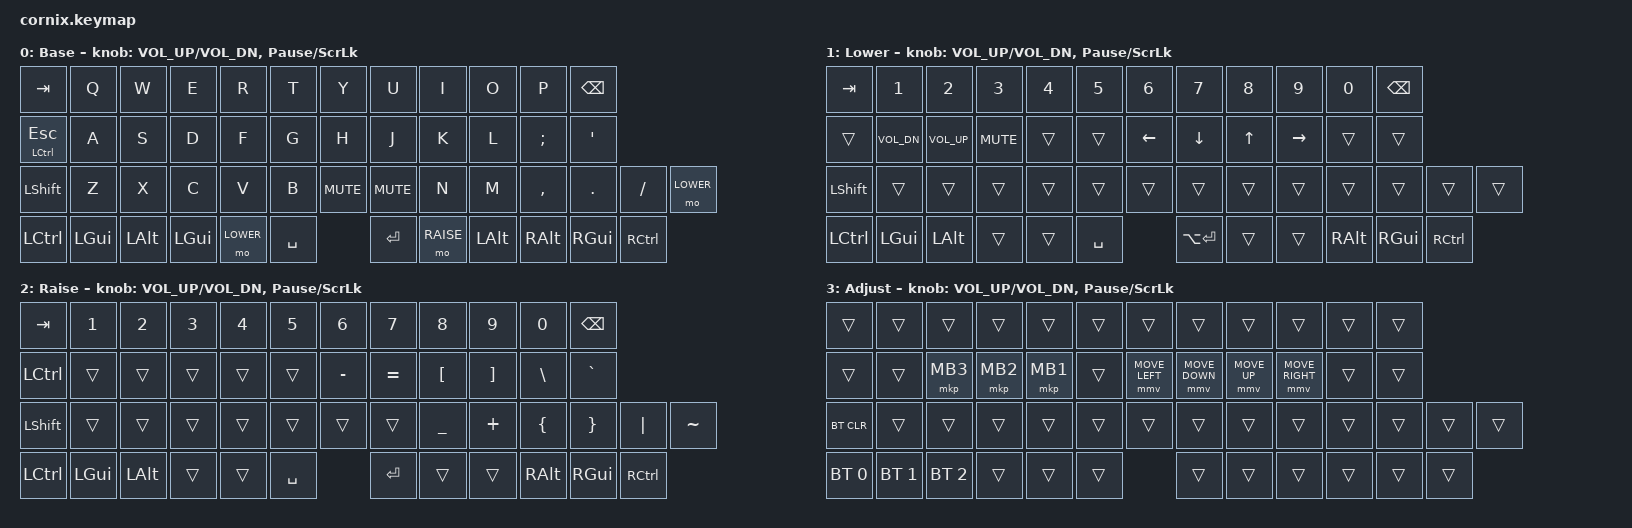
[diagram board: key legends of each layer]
/*
 * Copyright (c) 2020 The ZMK Contributors
 *
 * SPDX-License-Identifier: MIT
 */

#include <behaviors.dtsi>
#include <dt-bindings/zmk/bt.h>
#include <dt-bindings/zmk/keys.h>
#include <dt-bindings/zmk/pointing.h>

#define BASE 0
#define LOWER 1
#define RAISE 2
#define ADJUST 3

/ {
    behaviors {
        mt_esc: mod_tap_esc {
            compatible = "zmk,behavior-hold-tap";
            #binding-cells = <2>;
            flavor = "hold-preferred";
            tapping-term-ms = <150>;
            bindings = <&kp>, <&kp>;
        };
    };

    conditional_layers {
        compatible = "zmk,conditional-layers";

        adjust_layer {
            if-layers = <LOWER RAISE>;
            then-layer = <ADJUST>;
        };
    };

    keymap {
        compatible = "zmk,keymap";

        default_layer {
            display-name = "Base";

            bindings = <
&kp TAB              &kp Q               &kp W              &kp E              &kp R                  &kp T       &kp Y      &kp U                &kp I            &kp O         &kp P             &kp BSPC
&mt_esc LCTRL ESC    &kp A             &kp S             &kp D             &kp F               &kp G       &kp H      &kp J      &kp K       &kp L       &kp SEMI        &kp SQT
&kp LSHFT            &kp Z               &kp X              &kp C              &kp V                  &kp B       &kp C_MUTE &kp C_MUTE           &kp N            &kp M         &kp COMMA         &kp DOT        &kp FSLH       &mo LOWER
&kp LCTRL            &kp LGUI            &kp LALT           &kp LGUI           &mo LOWER              &kp SPACE                  &kp RET       &mo RAISE            &kp LALT         &kp RALT      &kp RGUI          &kp RCTRL
            >;
            sensor-bindings = <&inc_dec_kp C_VOL_UP C_VOL_DN &inc_dec_kp PAUSE_BREAK SCROLLLOCK >;
        };

        lower_layer {
            display-name = "Lower";

            bindings = <
&kp TAB    &kp N1        &kp N2        &kp N3        &kp N4      &kp N5       &kp N6       &kp N7       &kp N8       &kp N9       &kp N0        &kp BSPC
&trans     &kp C_VOL_DN  &kp C_VOL_UP  &kp C_MUTE    &trans      &trans       &kp LEFT     &kp DOWN     &kp UP       &kp RIGHT    &trans        &trans
&kp LSHFT  &trans        &trans        &trans        &trans      &trans       &trans       &trans       &trans       &trans       &trans        &trans        &trans         &trans
&kp LCTRL  &kp LGUI      &kp LALT      &trans        &trans      &kp SPACE                  &kp LA(RET)  &trans       &trans       &kp RALT      &kp RGUI      &kp RCTRL
            >;
            sensor-bindings = <&inc_dec_kp C_VOL_UP C_VOL_DN &inc_dec_kp PAUSE_BREAK SCROLLLOCK >;
        };

        raise_layer {
            display-name = "Raise";

            bindings = <
&kp TAB    &kp N1     &kp N2     &kp N3     &kp N4      &kp N5      &kp N6      &kp N7      &kp N8      &kp N9      &kp N0      &kp BSPC
&kp LCTRL  &trans     &trans     &trans     &trans      &trans      &kp MINUS   &kp EQUAL   &kp LBKT    &kp RBKT    &kp BSLH    &kp GRAVE
&kp LSHFT  &trans     &trans     &trans     &trans      &trans      &trans      &trans      &kp UNDER   &kp PLUS    &kp LBRC    &kp RBRC    &kp PIPE    &kp TILDE
&kp LCTRL  &kp LGUI   &kp LALT   &trans     &trans      &kp SPACE                &kp RET     &trans      &trans      &kp RALT    &kp RGUI    &kp RCTRL
            >;
            sensor-bindings = <&inc_dec_kp C_VOL_UP C_VOL_DN &inc_dec_kp PAUSE_BREAK SCROLLLOCK>;
        };

        adjust_layer {
            display-name = "Adjust";

            bindings = <
&trans      &trans         &trans         &trans         &trans         &trans      &trans          &trans          &trans          &trans           &trans        &trans
&trans      &trans         &mkp MB3       &mkp MB2       &mkp MB1       &trans      &mmv MOVE_LEFT  &mmv MOVE_DOWN  &mmv MOVE_UP    &mmv MOVE_RIGHT  &trans        &trans
&bt BT_CLR  &trans         &trans         &trans         &trans         &trans      &trans          &trans          &trans          &trans           &trans        &trans        &trans        &trans
&bt BT_SEL 0 &bt BT_SEL 1 &bt BT_SEL 2         &trans         &trans         &trans                     &trans          &trans          &trans          &trans        &trans        &trans
            >;
            sensor-bindings = <&inc_dec_kp C_VOL_UP C_VOL_DN &inc_dec_kp PAUSE_BREAK SCROLLLOCK >;
        };
    };
};
